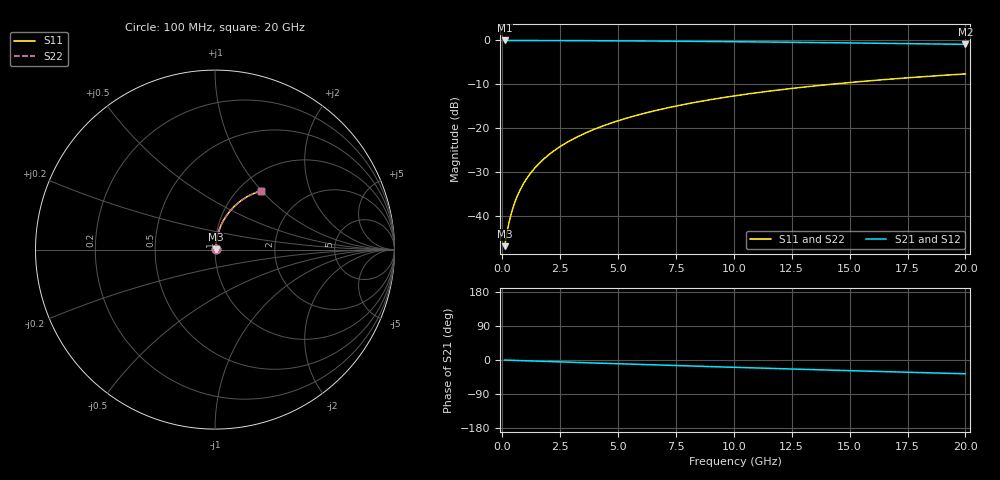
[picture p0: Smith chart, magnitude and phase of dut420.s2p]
! Touchstone file exported from HFSS 2026.1.0
!  File:  C:/ffzhzh/LocalFiles/Ansys_Project_Files/temp_train_TMRDL_420_1783005242_51716.aedt
!  Generated:  11:15:26 PM Jul  2, 2026
!  Design:  TMRDL
!  Project:  temp_train_TMRDL_420_1783005242_51716
! Variables:
!  h_bsmrdl = 2um
!  h_ox = 20um
!  h_rdl = 5um
!  h_sub = 80um
!  h_tmrdl = 3.51um
!  h_tsv = 80um
!  h_via = 3um
!  l_bsmrdl = 300um
!  l_sub = 863.8um
!  l_tmrdl = 463.8um
!  m_sub = 200um
!  pitch = 46.46um
!  r_tsv = 6um
!  s_tmrdl = 10um
!  w_bsmrdl = 18um
!  w_sub = 500um
!  w_tmrdl = 13.12um
!  x_tsv_center1 = 470.36um
!  x_tsv_center2 = 788.36um
!  x_tsv_center3 = 1265.28um
!  x_tsv_center4 = 1583.28um
!  x_tsv_center5 = 2060.2um
!  x_tsv_center6 = 2378.2um
# GHz S MA R 50.000000
! Terminal data exported
! Port[1] = TM_RDL1_1_T1
! Port[2] = TM_RDL1_1_T2
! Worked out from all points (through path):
!   200 points, 100 MHz to 20 GHz, reference 50 ohm
!   highest |S21| = -0.03 dB at 100 MHz (marker M1); lowest = -0.9 dB at 20 GHz (marker M2)
!   group delay of S21, straight-line fit = 5.06 ps
!   lowest |S11| = -47.0 dB at 100 MHz (marker M3), VSWR 1.01, Z = 50.4 + j0.257 ohm
!   |S11| at or under -10 dB: start of sweep to 14.27 GHz
!   |S22| runs from -47.0 to -7.7 dB; largest |S21 - S12| = 2.7e-15
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0.1  0.004471 34.8  0.9963 -0.2  0.9963 -0.2  0.004471 34.8
! Gamma 0 0 0 0
! Port Impedance 50 0 50 0
0.2  0.006321 53.6  0.9963 -0.4  0.9963 -0.4  0.006321 53.6
0.3  0.008521 63.0  0.9962 -0.6  0.9962 -0.6  0.008521 63.0
0.4  0.01084 68.3  0.9961 -0.8  0.9961 -0.8  0.01084 68.3
0.5  0.01319 71.6  0.996 -1.0  0.996 -1.0  0.01319 71.6
0.6  0.01557 73.8  0.9959 -1.2  0.9959 -1.2  0.01557 73.8
0.8  0.02034 76.7  0.9957 -1.6  0.9957 -1.6  0.02034 76.7
1.1  0.02754 78.9  0.9954 -2.2  0.9954 -2.2  0.02754 78.9
1.5  0.03718 80.2  0.9949 -3.0  0.9949 -3.0  0.03718 80.2
1.8  0.04442 80.6  0.9946 -3.6  0.9946 -3.6  0.04442 80.6
2.1  0.05167 80.7  0.9941 -4.2  0.9941 -4.2  0.05167 80.7
2.7  0.06612 80.5  0.9931 -5.4  0.9931 -5.4  0.06612 80.5
3.5  0.08528 79.6  0.9913 -6.9  0.9913 -6.9  0.08528 79.6
4.2  0.1019 78.6  0.9894 -8.3  0.9894 -8.3  0.1019 78.6
5  0.1207 77.4  0.9869 -9.9  0.9869 -9.9  0.1207 77.4
5.9  0.1415 75.9  0.9837 -11.6  0.9837 -11.6  0.1415 75.9
6.8  0.162 74.3  0.98 -13.3  0.98 -13.3  0.162 74.3
8.3  0.1953 71.6  0.9732 -16.1  0.9732 -16.1  0.1953 71.6
10.1  0.2338 68.5  0.9639 -19.5  0.9639 -19.5  0.2338 68.5
13.4  0.2998 62.8  0.9443 -25.4  0.9443 -25.4  0.2998 62.8
16.7  0.3598 57.3  0.9224 -31.0  0.9224 -31.0  0.3598 57.3
20  0.4135 52.1  0.8993 -36.4  0.8993 -36.4  0.4135 52.1
